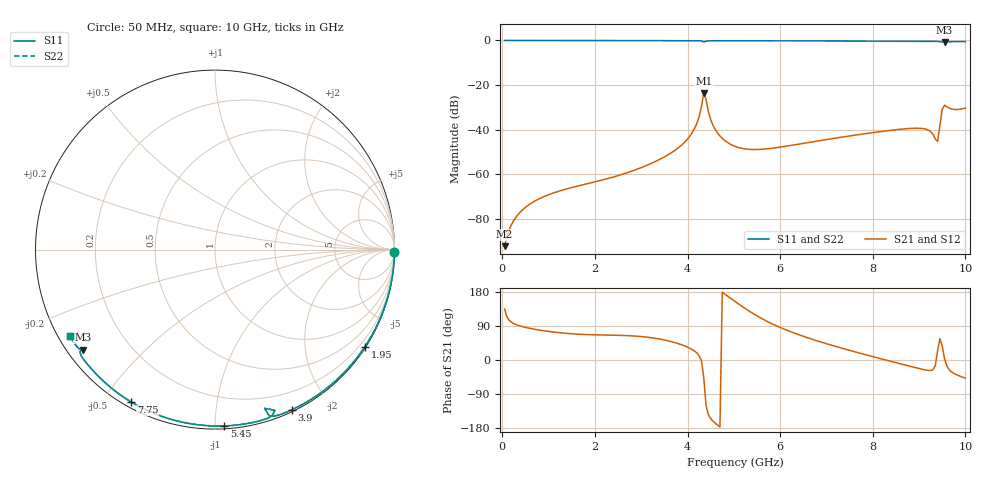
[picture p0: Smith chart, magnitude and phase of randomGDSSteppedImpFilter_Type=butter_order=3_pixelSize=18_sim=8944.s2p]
! freq	dB(S11)	phase(S11)	dB(S12)	phase(S12)
!  dB(S21)	phase(S21)	dB(S22)	phase(S22)
!S-par simulation data
#  GHz  S  DB  R 50
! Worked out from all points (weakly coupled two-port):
!   200 points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, 50 MHz to 10 GHz, reference 50 ohm
!   highest |S21| = -23.55 dB at 4.35 GHz (marker M1); lowest = -92.3 dB at 50 MHz (marker M2)
!   lowest |S11| = -0.7 dB at 9.55 GHz (marker M3), VSWR 25.56, Z = 2.18 - j16.8 ohm
!   |S11| at or under -10 dB: nowhere
!   |S22| runs from -0.7 to 0.0 dB; largest |S21 - S12| = 0
!   S11 on the Smith chart (normalised r, x): 50 MHz: open; 1.95 GHz: 0.03, -3.38; 3.9 GHz: 0.02, -1.59; 5.45 GHz: 0.02, -1.05; 7.75 GHz: 0.02, -0.59; 10 GHz: 0.03, -0.28
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0.05  -0.00 -0.9  -92.28 134.3  -92.28 134.3  -0.00 -0.9
0.25  -0.00 -4.3  -80.67 96.0  -80.67 96.0  -0.00 -4.3
0.9  -0.02 -15.4  -70.02 77.1  -70.02 77.1  -0.02 -15.4
1.75  -0.04 -29.7  -64.70 67.4  -64.70 67.4  -0.04 -29.7
1.95  -0.04 -33.0  -63.70 66.6  -63.70 66.6  -0.04 -33.0
3.4  -0.07 -56.4  -53.34 55.3  -53.34 55.3  -0.07 -56.4
3.9  -0.09 -64.4  -46.39 39.0  -46.39 39.0  -0.09 -64.4
4.2  -0.12 -69.4  -37.27 18.6  -37.27 18.6  -0.12 -69.4
4.3  -0.22 -71.9  -29.80 -2.4  -29.80 -2.4  -0.22 -71.9
4.35  -0.66 -72.7  -23.55 -45.8  -23.55 -45.8  -0.66 -72.7
4.5  -0.14 -72.2  -35.53 -154.6  -35.53 -154.6  -0.14 -72.2
4.6  -0.12 -74.1  -40.01 -167.0  -40.01 -167.0  -0.12 -74.1
5.05  -0.13 -81.1  -47.66 152.4  -47.66 152.4  -0.13 -81.1
5.45  -0.14 -86.9  -48.93 120.1  -48.93 120.1  -0.14 -86.9
6.7  -0.20 -104.6  -45.46 54.4  -45.46 54.4  -0.20 -104.6
7.75  -0.27 -118.8  -42.07 17.1  -42.07 17.1  -0.27 -118.8
8.35  -0.32 -126.9  -40.41 -2.2  -40.41 -2.2  -0.32 -126.9
9.1  -0.39 -137.1  -39.59 -25.4  -39.59 -25.4  -0.39 -137.1
9.4  -0.44 -141.8  -45.28 24.5  -45.28 24.5  -0.44 -141.8
9.5  -0.67 -143.3  -30.88 36.7  -30.88 36.7  -0.67 -143.3
9.55  -0.68 -142.9  -29.06 3.0  -29.06 3.0  -0.68 -142.9
10  -0.54 -149.2  -30.32 -47.8  -30.32 -47.8  -0.54 -149.2
